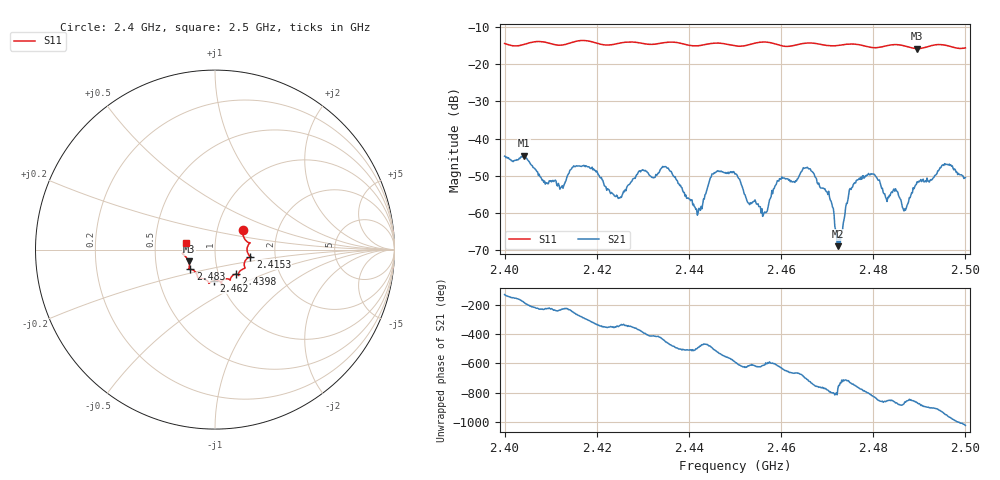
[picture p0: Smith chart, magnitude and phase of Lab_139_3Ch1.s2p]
# Hz S RI R 50
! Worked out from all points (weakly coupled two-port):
!   601 points, 2.4 GHz to 2.5 GHz, reference 50 ohm
!   highest |S21| = -44.63 dB at 2.4042 GHz (marker M1); lowest = -68.9 dB at 2.4723 GHz (marker M2)
!   lowest |S11| = -15.9 dB at 2.4895 GHz (marker M3), VSWR 1.38, Z = 36.9 - j5.01 ohm
!   |S11| at or under -10 dB: start of sweep to end of sweep
!   S12 and S22 are empty: the file has one direction only
!   S11 on the Smith chart (normalised r, x): 2.4 GHz: 1.33, +0.29; 2.4153 GHz: 1.48, -0.12; 2.4398 GHz: 1.21, -0.34; 2.462 GHz: 0.93, -0.33; 2.483 GHz: 0.74, -0.17; 2.5 GHz: 0.72, +0.06
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2.4e9  0.155 0.1064  -0.00362 -0.00455  0 0  0 0
2.404167e9  0.1765 0.0465  -0.00587 0.000147  0 0  0 0
2.412333e9  0.1787 -0.00545  -0.00146 0.00169  0 0  0 0
2.415333e9  0.1962 -0.0386  -0.000892 0.00411  0 0  0 0
2.416667e9  0.2019 -0.0426  0.000772 0.00415  0 0  0 0
2.424833e9  0.1645 -0.0942  0.00155 0.000434  0 0  0 0
2.433333e9  0.1315 -0.1336  0.00202 -0.0028  0 0  0 0
2.439833e9  0.1154 -0.1367  -0.00137 -0.000821  0 0  0 0
2.442333e9  0.0933 -0.1496  -0.000609 -0.000972  0 0  0 0
2.445167e9  0.0845 -0.1693  -0.00251 -0.00223  0 0  0 0
2.45e9  0.0645 -0.1628  -0.00212 0.00257  0 0  0 0
2.4565e9  0.0387 -0.1929  -0.000361 0.000974  0 0  0 0
2.462e9  -0.0051 -0.1732  0.00137 0.00225  0 0  0 0
2.466667e9  -0.0342 -0.1877  0.00349 -0.000978  0 0  0 0
2.4705e9  -0.0526 -0.1675  0.000408 -0.00161  0 0  0 0
2.472333e9  -0.0734 -0.1607  0.000238 -0.000272  0 0  0 0
2.4765e9  -0.0952 -0.1559  0.00208 -0.00183  0 0  0 0
2.483e9  -0.1376 -0.1096  -0.00102 -0.00101  0 0  0 0
2.483333e9  -0.14 -0.1093  -0.00109 -0.00119  0 0  0 0
2.486833e9  -0.1438 -0.0986  -0.000919 -0.000679  0 0  0 0
2.4895e9  -0.1463 -0.0661  -0.00223 -0.00139  0 0  0 0
2.5e9  -0.1598 0.0389  0.00172 0.00246  0 0  0 0
